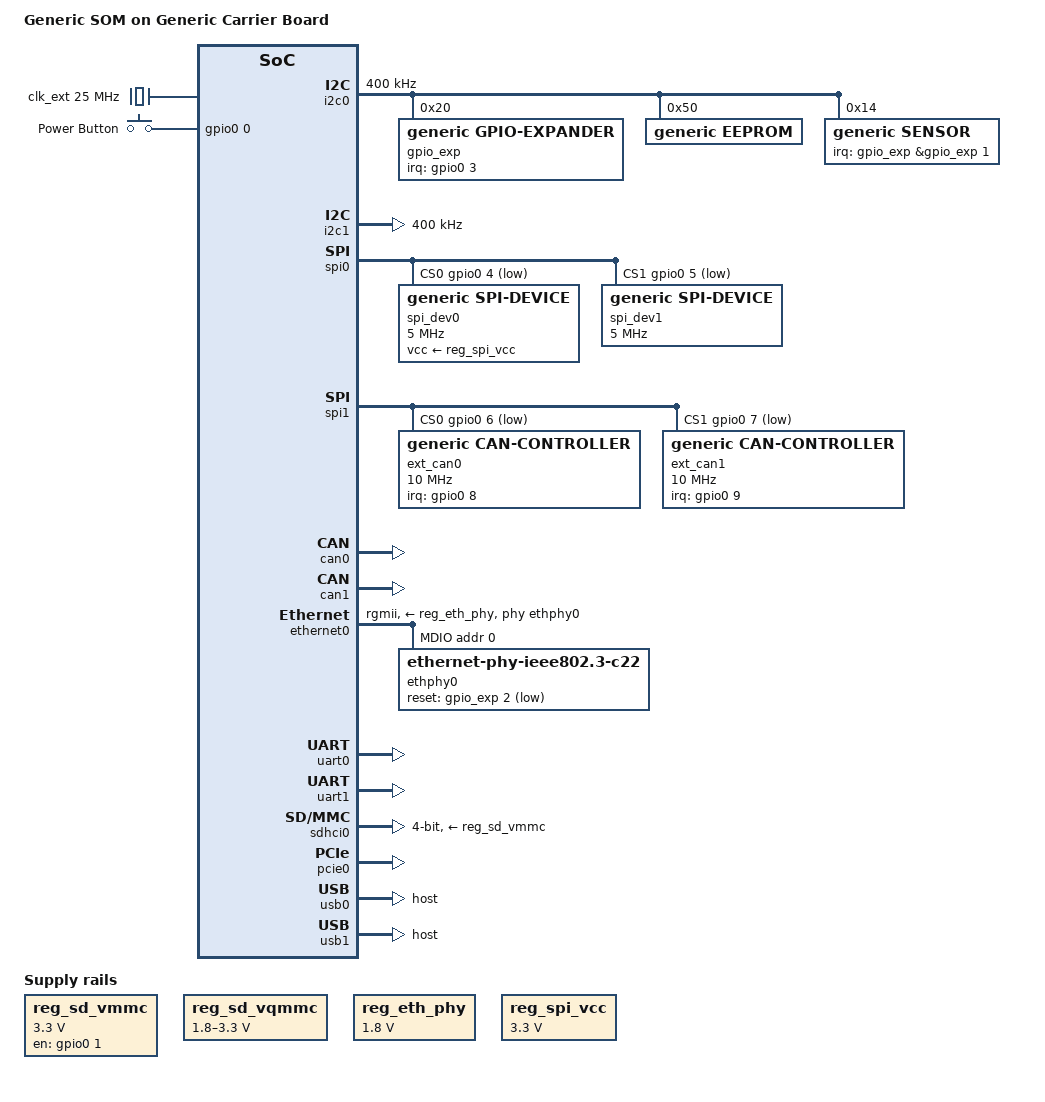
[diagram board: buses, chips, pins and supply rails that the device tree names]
// SPDX-License-Identifier: (GPL-2.0+ OR MIT)

#include <dt-bindings/interrupt-controller/irq.h>
#include "generic-som.dtsi"

/ {
	model = "Generic SOM on Generic Carrier Board";

	chosen {
		stdout-path = &uart0;
	};

	clocks {
		clk_ext: external-clock {
			compatible = "fixed-clock";
			#clock-cells = <0>;
			clock-frequency = <25000000>;
		};
	};

	gpio-keys {
		compatible = "gpio-keys";
		status = "okay";

		power-key {
			label = "Power Button";
			linux,code = <116>; /* KEY_POWER */
			gpios = <&gpio0 0 GPIO_ACTIVE_HIGH>;
			gpio-key,wakeup;
		};
	};

	reg_sd_vmmc: regulator-sd-vmmc {
		compatible = "regulator-fixed";
		regulator-name = "SD_3V3";
		regulator-min-microvolt = <3300000>;
		regulator-max-microvolt = <3300000>;
		gpio = <&gpio0 1 GPIO_ACTIVE_HIGH>;
		enable-active-high;
	};

	reg_sd_vqmmc: regulator-sd-vqmmc {
		compatible = "regulator-gpio";
		regulator-name = "SD_VSEL";
		regulator-min-microvolt = <1800000>;
		regulator-max-microvolt = <3300000>;
		gpio = <&gpio0 2 GPIO_ACTIVE_HIGH>;
		gpios-states = <1>;
		states = <3300000 0
			  1800000 1>;
	};

	reg_eth_phy: regulator-eth-phy {
		compatible = "regulator-fixed";
		regulator-name = "eth-phy-supply";
		regulator-min-microvolt = <1800000>;
		regulator-max-microvolt = <1800000>;
		regulator-always-on;
	};

	reg_spi_vcc: regulator-spi-vcc {
		compatible = "regulator-fixed";
		regulator-name = "spi-device-supply";
		regulator-min-microvolt = <3300000>;
		regulator-max-microvolt = <3300000>;
		regulator-always-on;
	};

	sound_hdmi: sound-hdmi {
		compatible = "generic,audio-hdmi";
		model = "audio-hdmi";
		audio-cpu = <&audio_hdmi>;
		hdmi-out;
		status = "disabled";
	};
};

&i2c0 {
	clock-frequency = <400000>;
	pinctrl-names = "default";
	pinctrl-0 = <&pinctrl_i2c0>;
	status = "okay";

	gpio_exp: gpio-expander@20 {
		compatible = "generic,gpio-expander";
		reg = <0x20>;
		gpio-controller;
		#gpio-cells = <2>;
		interrupt-controller;
		#interrupt-cells = <2>;
		interrupt-parent = <&gpio0>;
		interrupts = <3 IRQ_TYPE_LEVEL_LOW>;
		status = "okay";

		exp_pin0_hog {
			gpio-hog;
			gpios = <0 GPIO_ACTIVE_HIGH>;
			input;
			line-name = "EXP_GPIO_0";
		};
	};

	eeprom@50 {
		compatible = "generic,eeprom";
		pagesize = <16>;
		size = <256>;
		reg = <0x50>;
		status = "okay";
	};

	sensor@14 {
		compatible = "generic,sensor";
		reg = <0x14>;
		interrupt-parent = <&gpio_exp>;
		interrupts = <&gpio_exp 1 IRQ_TYPE_LEVEL_HIGH>;
		status = "okay";
	};
};

&i2c1 {
	clock-frequency = <400000>;
	pinctrl-names = "default";
	pinctrl-0 = <&pinctrl_i2c1>;
	status = "okay";
};

&spi0 {
	#address-cells = <1>;
	#size-cells = <0>;
	pinctrl-names = "default";
	pinctrl-0 = <&pinctrl_spi0>;
	cs-gpios = <&gpio0 4 GPIO_ACTIVE_LOW>,
		   <&gpio0 5 GPIO_ACTIVE_LOW>;
	spi-max-frequency = <5000000>;
	status = "okay";

	spi_dev0: spi-device@0 {
		compatible = "generic,spi-device";
		reg = <0>;
		vcc-supply = <&reg_spi_vcc>;
		spi-max-frequency = <5000000>;
	};

	spi_dev1: spi-device@1 {
		compatible = "generic,spi-device";
		reg = <1>;
		spi-max-frequency = <5000000>;
	};
};

&spi1 {
	#address-cells = <1>;
	#size-cells = <0>;
	pinctrl-names = "default";
	pinctrl-0 = <&pinctrl_spi1>;
	cs-gpios = <&gpio0 6 GPIO_ACTIVE_LOW>,
		   <&gpio0 7 GPIO_ACTIVE_LOW>;
	spi-max-frequency = <10000000>;
	status = "okay";

	ext_can0: can@0 {
		compatible = "generic,can-controller";
		reg = <0>;
		clocks = <&clk_ext>;
		interrupt-parent = <&gpio0>;
		interrupts = <8 IRQ_TYPE_LEVEL_LOW>;
		spi-max-frequency = <10000000>;
		status = "okay";
	};

	ext_can1: can@1 {
		compatible = "generic,can-controller";
		reg = <1>;
		clocks = <&clk_ext>;
		interrupt-parent = <&gpio0>;
		interrupts = <9 IRQ_TYPE_LEVEL_LOW>;
		spi-max-frequency = <10000000>;
		status = "okay";
	};
};

&can0 {
	pinctrl-names = "default";
	pinctrl-0 = <&pinctrl_can0>;
	status = "okay";
};

&can1 {
	pinctrl-names = "default";
	pinctrl-0 = <&pinctrl_can1>;
	status = "okay";
};

&ethernet0 {
	pinctrl-names = "default";
	pinctrl-0 = <&pinctrl_eth0>;
	phy-mode = "rgmii";
	phy-handle = <&ethphy0>;
	phy-supply = <&reg_eth_phy>;
	status = "okay";

	mdio {
		#address-cells = <1>;
		#size-cells = <0>;

		ethphy0: ethernet-phy@0 {
			compatible = "ethernet-phy-ieee802.3-c22";
			reg = <0>;
			reset-gpios = <&gpio_exp 2 GPIO_ACTIVE_LOW>;
			reset-assert-us = <10000>;
			reset-deassert-us = <20000>;
		};
	};
};

&hdmi {
	status = "disabled";
};

&uart0 {
	pinctrl-names = "default";
	pinctrl-0 = <&pinctrl_uart0>;
	status = "okay";
};

&uart1 {
	pinctrl-names = "default";
	pinctrl-0 = <&pinctrl_uart1>;
	status = "okay";
};

&sdhci0 {
	pinctrl-names = "default";
	pinctrl-0 = <&pinctrl_sdhci0>;
	vmmc-supply = <&reg_sd_vmmc>;
	vqmmc-supply = <&reg_sd_vqmmc>;
	bus-width = <4>;
	status = "okay";
};

&pcie0 {
	status = "okay";
};

&usb0 {
	dr_mode = "host";
	status = "okay";
};

&usb1 {
	dr_mode = "host";
	status = "okay";
};

&pinctrl {
	pinctrl_uart0: uart0grp {
		/* Generic UART0 RX/TX pin configuration */
	};

	pinctrl_uart1: uart1grp {
		/* Generic UART1 RX/TX pin configuration */
	};

	pinctrl_sdhci0: sdhci0grp {
		/* Generic 4-bit SD/MMC pin configuration */
	};

	pinctrl_i2c0: i2c0grp {
		/* Generic I2C0 SCL/SDA pin configuration */
	};

	pinctrl_i2c1: i2c1grp {
		/* Generic I2C1 SCL/SDA pin configuration */
	};

	pinctrl_eth0: eth0grp {
		/* Generic RGMII Ethernet pin configuration */
	};

	pinctrl_can0: can0grp {
		/* Generic CAN0 TX/RX pin configuration */
	};

	pinctrl_can1: can1grp {
		/* Generic CAN1 TX/RX pin configuration */
	};

	pinctrl_spi0: spi0grp {
		/* Generic SPI0 CLK/MOSI/MISO/CS pin configuration */
	};

	pinctrl_spi1: spi1grp {
		/* Generic SPI1 CLK/MOSI/MISO/CS pin configuration */
	};
};
